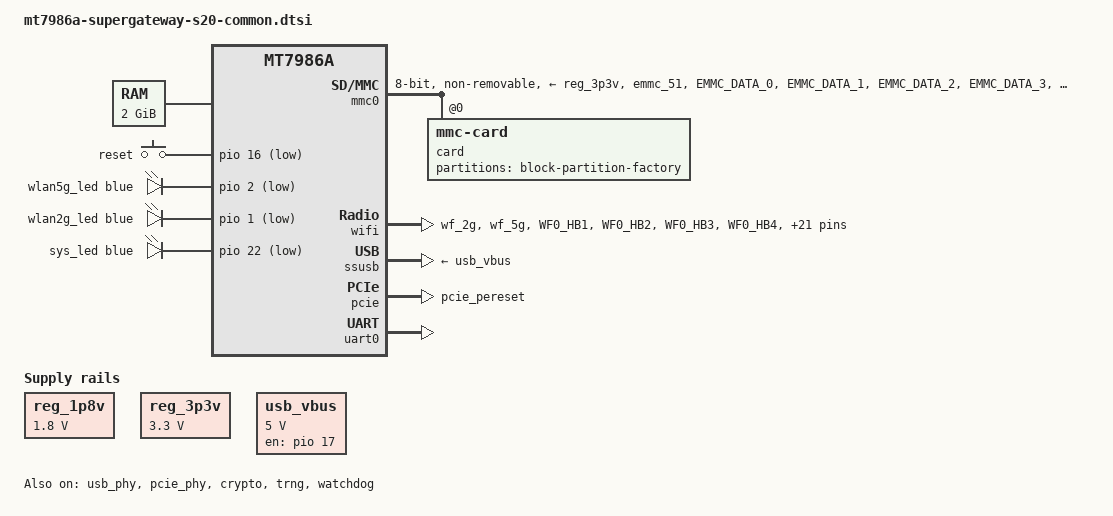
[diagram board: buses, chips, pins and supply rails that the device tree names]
// SPDX-License-Identifier: GPL-2.0-or-later OR MIT

/dts-v1/;
#include <dt-bindings/gpio/gpio.h>
#include <dt-bindings/input/input.h>
#include <dt-bindings/leds/common.h>

#include "mt7986a.dtsi"

/ {
	aliases {
		serial0 = &uart0;
		led-boot = &sys_led;
		led-failsafe = &sys_led;
		led-running = &sys_led;
		led-upgrade = &sys_led;
	};

	chosen {
		stdout-path = "serial0:115200n8";
		bootargs-append = " root=PARTLABEL=rootfs rootwait";
	};

	memory {
		reg = <0 0x40000000 0 0x80000000>;
	};

	gpio-keys {
		compatible = "gpio-keys";

		button-reset {
			label = "reset";
			linux,code = <KEY_RESTART>;
			gpios = <&pio 16 GPIO_ACTIVE_LOW>;
		};
	};

	gpio-leds {
		compatible = "gpio-leds";

		wlan5g_led: wlan5g-led {
			function = LED_FUNCTION_WLAN_5GHZ;
			color = <LED_COLOR_ID_BLUE>;
			gpios = <&pio 2 GPIO_ACTIVE_LOW>;
		};

		wlan2g_led: wlan2g-led {
			function = LED_FUNCTION_WLAN_2GHZ;
			color = <LED_COLOR_ID_BLUE>;
			gpios = <&pio 1 GPIO_ACTIVE_LOW>;
		};

		sys_led: sys-led {
			function = LED_FUNCTION_STATUS;
			color = <LED_COLOR_ID_BLUE>;
			gpios = <&pio 22 GPIO_ACTIVE_LOW>;
		};
	};

	reg_1p8v: regulator-1p8v {
		compatible = "regulator-fixed";
		regulator-name = "fixed-1.8V";
		regulator-min-microvolt = <1800000>;
		regulator-max-microvolt = <1800000>;
		regulator-boot-on;
		regulator-always-on;
	};

	reg_3p3v: regulator-3p3v {
		compatible = "regulator-fixed";
		regulator-name = "fixed-3.3V";
		regulator-min-microvolt = <3300000>;
		regulator-max-microvolt = <3300000>;
		regulator-boot-on;
		regulator-always-on;
	};

	usb_vbus: regulator-usb-vbus {
		compatible = "regulator-fixed";
		regulator-name = "usb_vbus";
		regulator-min-microvolt = <5000000>;
		regulator-max-microvolt = <5000000>;
		gpios = <&pio 17 GPIO_ACTIVE_HIGH>;
		enable-active-high;
		regulator-boot-on;
	};
};

&mmc0 {
	pinctrl-names = "default", "state_uhs";
	pinctrl-0 = <&mmc0_pins_default>;
	pinctrl-1 = <&mmc0_pins_uhs>;
	bus-width = <8>;
	max-frequency = <200000000>;
	cap-mmc-highspeed;
	mmc-hs200-1_8v;
	mmc-hs400-1_8v;
	hs400-ds-delay = <0x14014>;
	vmmc-supply = <&reg_3p3v>;
	vqmmc-supply = <&reg_1p8v>;
	non-removable;
	no-sd;
	no-sdio;
	status = "okay";

	card@0 {
		compatible = "mmc-card";
		reg = <0>;

		block {
			compatible = "block-device";

			partitions {
				block-partition-factory {
					partname = "factory";

					nvmem-layout {
						compatible = "fixed-layout";
						#address-cells = <1>;
						#size-cells = <1>;

						eeprom_factory_0: eeprom@0 {
							reg = <0x0 0x1000>;
						};

						macaddr_factory_24: macaddr@24 {
							compatible = "mac-base";
							reg = <0x24 0x6>;
							#nvmem-cell-cells = <1>;
						};

						macaddr_factory_2a: macaddr@2a {
							compatible = "mac-base";
							reg = <0x2a 0x6>;
							#nvmem-cell-cells = <1>;
						};
					};
				};
			};
		};
	};
};

&pio {
	mmc0_pins_default: mmc0-pins {
		mux {
			function = "emmc";
			groups = "emmc_51";
		};

		conf-cmd-dat {
			pins = "EMMC_DATA_0", "EMMC_DATA_1", "EMMC_DATA_2",
			       "EMMC_DATA_3", "EMMC_DATA_4", "EMMC_DATA_5",
			       "EMMC_DATA_6", "EMMC_DATA_7", "EMMC_CMD";
			input-enable;
			drive-strength = <4>;
			mediatek,pull-up-adv = <1>;	/* pull-up 10K */
		};

		conf-clk {
			pins = "EMMC_CK";
			drive-strength = <6>;
			mediatek,pull-down-adv = <2>;	/* pull-down 50K */
		};

		conf-ds {
			pins = "EMMC_DSL";
			mediatek,pull-down-adv = <2>;	/* pull-down 50K */
		};

		conf-rst {
			pins = "EMMC_RSTB";
			drive-strength = <4>;
			mediatek,pull-up-adv = <1>;	/* pull-up 10K */
		};
	};

	mmc0_pins_uhs: mmc0-uhs-pins {
		mux {
			function = "emmc";
			groups = "emmc_51";
		};

		conf-cmd-dat {
			pins = "EMMC_DATA_0", "EMMC_DATA_1", "EMMC_DATA_2",
			       "EMMC_DATA_3", "EMMC_DATA_4", "EMMC_DATA_5",
			       "EMMC_DATA_6", "EMMC_DATA_7", "EMMC_CMD";
			input-enable;
			drive-strength = <4>;
			mediatek,pull-up-adv = <1>;	/* pull-up 10K */
		};

		conf-clk {
			pins = "EMMC_CK";
			drive-strength = <6>;
			mediatek,pull-down-adv = <2>;	/* pull-down 50K */
		};

		conf-ds {
			pins = "EMMC_DSL";
			mediatek,pull-down-adv = <2>;	/* pull-down 50K */
		};

		conf-rst {
			pins = "EMMC_RSTB";
			drive-strength = <4>;
			mediatek,pull-up-adv = <1>;	/* pull-up 10K */
		};
	};

	pcie_pins: pcie-pins {
		mux {
			function = "pcie";
			groups = "pcie_pereset";
		};
	};

	wf_2g_5g_pins: wf_2g_5g-pins {
		mux {
			function = "wifi";
			groups = "wf_2g", "wf_5g";
		};
		conf {
			pins = "WF0_HB1", "WF0_HB2", "WF0_HB3", "WF0_HB4",
			       "WF0_HB0", "WF0_HB0_B", "WF0_HB5", "WF0_HB6",
			       "WF0_HB7", "WF0_HB8", "WF0_HB9", "WF0_HB10",
			       "WF0_TOP_CLK", "WF0_TOP_DATA", "WF1_HB1",
			       "WF1_HB2", "WF1_HB3", "WF1_HB4", "WF1_HB0",
			       "WF1_HB5", "WF1_HB6", "WF1_HB7", "WF1_HB8",
			       "WF1_TOP_CLK", "WF1_TOP_DATA";
			drive-strength = <4>;
		};
	};

	wf_dbdc_pins: wf-dbdc-pins {
		mux {
			function = "wifi";
			groups = "wf_dbdc";
		};
		conf {
			pins = "WF0_HB1", "WF0_HB2", "WF0_HB3", "WF0_HB4",
				"WF0_HB0", "WF0_HB0_B", "WF0_HB5", "WF0_HB6",
				"WF0_HB7", "WF0_HB8", "WF0_HB9", "WF0_HB10",
				"WF0_TOP_CLK", "WF0_TOP_DATA", "WF1_HB1",
				"WF1_HB2", "WF1_HB3", "WF1_HB4", "WF1_HB0",
				"WF1_HB5", "WF1_HB6", "WF1_HB7", "WF1_HB8",
				"WF1_TOP_CLK", "WF1_TOP_DATA";
			drive-strength = <4>;
		};
	};
};

&wifi {
	nvmem-cells = <&eeprom_factory_0>;
	nvmem-cell-names = "eeprom";
	pinctrl-names = "default", "dbdc";
	pinctrl-0 = <&wf_2g_5g_pins>;
	pinctrl-1 = <&wf_dbdc_pins>;
	status = "okay";
};

&ssusb {
	vusb33-supply = <&reg_3p3v>;
	vbus-supply = <&usb_vbus>;
	status = "okay";
};

&usb_phy {
	status = "okay";
};

&pcie {
	pinctrl-names = "default";
	pinctrl-0 = <&pcie_pins>;
	status = "okay";
};

&pcie_phy {
	status = "okay";
};

&crypto {
	status = "okay";
};

&trng {
	status = "okay";
};

&uart0 {
	status = "okay";
};

&watchdog {
	status = "okay";
};
